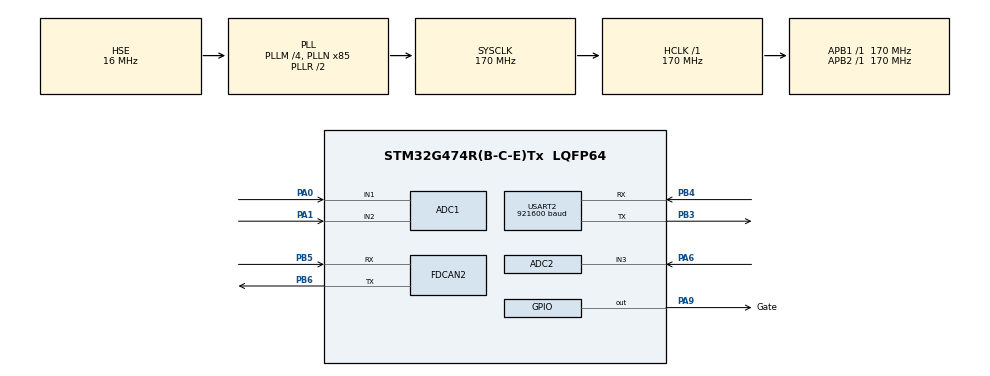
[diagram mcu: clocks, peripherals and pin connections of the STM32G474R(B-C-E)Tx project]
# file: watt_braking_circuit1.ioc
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ADC1.Channel-0\#ChannelRegularConversion=ADC_CHANNEL_1
ADC1.ClockPrescaler=ADC_CLOCK_SYNC_PCLK_DIV4
ADC1.ContinuousConvMode=DISABLE
ADC1.DMAContinuousRequests=ENABLE
ADC1.EnableAnalogWatchDog1=false
ADC1.ExternalTrigConv=ADC_EXTERNALTRIG_T6_TRGO
ADC1.NbrOfConversion=1
ADC1.NbrOfConversionFlag=1
ADC1.OffsetNumber-0\#ChannelRegularConversion=ADC_OFFSET_NONE
ADC1.Overrun=ADC_OVR_DATA_OVERWRITTEN
ADC1.OversamplingMode=ENABLE
ADC1.Rank-0\#ChannelRegularConversion=1
ADC1.Ratio=ADC_OVERSAMPLING_RATIO_4
ADC1.RightBitShift=ADC_RIGHTBITSHIFT_2
ADC1.SamplingTime-0\#ChannelRegularConversion=ADC_SAMPLETIME_2CYCLES_5
ADC1.SingleDiff-0\#ChannelRegularConversion=ADC_DIFFERENTIAL_ENDED
ADC1.master=1
ADC2.Channel-0\#ChannelRegularConversion=ADC_CHANNEL_3
ADC2.ClockPrescaler=ADC_CLOCK_SYNC_PCLK_DIV4
ADC2.DMAContinuousRequests=ENABLE
ADC2.ExternalTrigConv=ADC_EXTERNALTRIG_T6_TRGO
ADC2.NbrOfConversionFlag=1
ADC2.OffsetNumber-0\#ChannelRegularConversion=ADC_OFFSET_NONE
ADC2.Overrun=ADC_OVR_DATA_OVERWRITTEN
ADC2.OversamplingMode=ENABLE
ADC2.Rank-0\#ChannelRegularConversion=1
ADC2.Ratio=ADC_OVERSAMPLING_RATIO_4
ADC2.RightBitShift=ADC_RIGHTBITSHIFT_2
ADC2.SamplingTime-0\#ChannelRegularConversion=ADC_SAMPLETIME_2CYCLES_5
Dma.ADC1.0.Direction=DMA_PERIPH_TO_MEMORY
Dma.ADC1.0.EventEnable=DISABLE
Dma.ADC1.0.Instance=DMA1_Channel1
Dma.ADC1.0.MemDataAlignment=DMA_MDATAALIGN_HALFWORD
Dma.ADC1.0.MemInc=DMA_MINC_ENABLE
Dma.ADC1.0.Mode=DMA_CIRCULAR
Dma.ADC1.0.PeriphDataAlignment=DMA_PDATAALIGN_HALFWORD
Dma.ADC1.0.PeriphInc=DMA_PINC_DISABLE
Dma.ADC1.0.Polarity=HAL_DMAMUX_REQ_GEN_RISING
Dma.ADC1.0.Priority=DMA_PRIORITY_VERY_HIGH
Dma.ADC1.0.RequestNumber=1
Dma.ADC1.0.SignalID=NONE
Dma.ADC1.0.SyncEnable=DISABLE
Dma.ADC1.0.SyncPolarity=HAL_DMAMUX_SYNC_NO_EVENT
Dma.ADC1.0.SyncRequestNumber=1
Dma.ADC1.0.SyncSignalID=NONE
Dma.ADC2.1.Direction=DMA_PERIPH_TO_MEMORY
Dma.ADC2.1.EventEnable=DISABLE
Dma.ADC2.1.Instance=DMA1_Channel2
Dma.ADC2.1.MemDataAlignment=DMA_MDATAALIGN_HALFWORD
Dma.ADC2.1.MemInc=DMA_MINC_ENABLE
Dma.ADC2.1.Mode=DMA_CIRCULAR
Dma.ADC2.1.PeriphDataAlignment=DMA_PDATAALIGN_HALFWORD
Dma.ADC2.1.PeriphInc=DMA_PINC_DISABLE
Dma.ADC2.1.Polarity=HAL_DMAMUX_REQ_GEN_RISING
Dma.ADC2.1.Priority=DMA_PRIORITY_LOW
Dma.ADC2.1.RequestNumber=1
Dma.ADC2.1.SignalID=NONE
Dma.ADC2.1.SyncEnable=DISABLE
Dma.ADC2.1.SyncPolarity=HAL_DMAMUX_SYNC_NO_EVENT
Dma.ADC2.1.SyncRequestNumber=1
Dma.ADC2.1.SyncSignalID=NONE
Dma.Request0=ADC1
Dma.Request1=ADC2
FDCAN2.CalculateBaudRateNominal=1000000
FDCAN2.CalculateTimeBitNominal=1000
FDCAN2.CalculateTimeQuantumNominal=100.0
FDCAN2.NominalPrescaler=17
FDCAN2.NominalTimeSeg1=7
FDCAN2.NominalTimeSeg2=2
Mcu.Family=STM32G4
Mcu.Name=STM32G474R(B-C-E)Tx
Mcu.Package=LQFP64
NVIC.ADC1_2_IRQn=true\:0\:0\:false\:false\:true\:true\:true\:true
NVIC.DMA1_Channel1_IRQn=true\:0\:0\:false\:false\:true\:false\:true\:true
NVIC.DMA1_Channel2_IRQn=true\:0\:0\:false\:false\:true\:false\:true\:true
NVIC.FDCAN2_IT0_IRQn=true\:0\:0\:true\:false\:true\:true\:true\:true
NVIC.FDCAN2_IT1_IRQn=true\:0\:0\:true\:false\:true\:true\:true\:true
NVIC.PriorityGroup=NVIC_PRIORITYGROUP_4
NVIC.TIM6_DAC_IRQn=true\:0\:0\:true\:false\:true\:true\:true\:true
NVIC.USART2_IRQn=true\:0\:0\:false\:false\:true\:true\:true\:true
PA0.Mode=IN1-Differential
PA0.Signal=ADC1_IN1
PA1.Mode=IN1-Differential
PA1.Signal=ADC1_IN2
PA13.Mode=Serial_Wire
PA13.Signal=SYS_JTMS-SWDIO
PA14.Mode=Serial_Wire
PA14.Signal=SYS_JTCK-SWCLK
PA6.Mode=IN3-Single-Ended
PA6.Signal=ADC2_IN3
PA8.Signal=S_TIM1_CH1
PA9.GPIO_Label=Gate
PA9.GPIO_PuPd=GPIO_PULLDOWN
PA9.Signal=GPIO_Output
PB3.Mode=Asynchronous
PB3.Signal=USART2_TX
PB4.Mode=Asynchronous
PB4.Signal=USART2_RX
PB5.Mode=FDCAN_Activate
PB5.Signal=FDCAN2_RX
PB6.Mode=FDCAN_Activate
PB6.Signal=FDCAN2_TX
PF0-OSC_IN.Mode=HSE-External-Oscillator
PF0-OSC_IN.Signal=RCC_OSC_IN
PF1-OSC_OUT.Mode=HSE-External-Oscillator
PF1-OSC_OUT.Signal=RCC_OSC_OUT
ProjectManager.HeapSize=0x200
ProjectManager.StackSize=0x400
ProjectManager.TargetToolchain=STM32CubeIDE
RCC.ADC12Freq_Value=170000000
RCC.ADC345Freq_Value=170000000
RCC.AHBFreq_Value=170000000
RCC.APB1Freq_Value=170000000
RCC.APB1TimFreq_Value=170000000
RCC.APB2Freq_Value=170000000
RCC.APB2TimFreq_Value=170000000
RCC.CortexFreq_Value=170000000
RCC.EXTERNAL_CLOCK_VALUE=12288000
RCC.HCLKFreq_Value=170000000
RCC.HSE_VALUE=16000000
RCC.HSI48_VALUE=48000000
RCC.HSI_VALUE=16000000
RCC.LSE_VALUE=32768
RCC.PLLM=RCC_PLLM_DIV4
RCC.PLLN=85
RCC.PLLSourceVirtual=RCC_PLLSOURCE_HSE
RCC.PREFETCH_ENABLE=0
RCC.SYSCLKFreq_VALUE=170000000
RCC.SYSCLKSource=RCC_SYSCLKSOURCE_PLLCLK
RCC.USBFreq_Value=170000000
RCC.VCOOutputFreq_Value=340000000
SH.S_TIM1_CH1.0=TIM1_CH1
TIM6.PeriodNoDither=84
TIM6.Prescaler=15
TIM6.TIM_MasterOutputTrigger=TIM_TRGO_UPDATE
USART2.BaudRate=921600
USART2.VirtualMode-Asynchronous=VM_ASYNC
VP_SYS_VS_DBSignals.Mode=DisableDeadBatterySignals
VP_TIM6_VS_ClockSourceINT.Mode=Enable_Timer
board=custom

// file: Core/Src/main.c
/* USER CODE BEGIN Header */
/**
  ******************************************************************************
  * @file           : main.c
  * @brief          : Main program body
  ******************************************************************************
  * @attention
  *
  * Copyright (c) 2025 STMicroelectronics.
  * All rights reserved.
  *
  * This software is licensed under terms that can be found in the LICENSE file
  * in the root directory of this software component.
  * If no LICENSE file comes with this software, it is provided AS-IS.
  *
  ******************************************************************************
  */
/* USER CODE END Header */
#include "main.h"

/* USER CODE BEGIN Includes */
#include <string.h>
#include <stdlib.h>
#include <stdio.h>
/* USER CODE END Includes */

/* USER CODE BEGIN PTD */
typedef enum {
    DEBOUNCING = 0,
    MA = 1,
    LPF = 2,
    RAW = 3
} FilterType;
/* USER CODE END PTD */

/* USER CODE BEGIN PD */
#define VI_BUF_LEN 16

#define ADC1_VOLT_CHANNEL ADC_CHANNEL_1
#define ADC2_CURR_CHANNEL ADC_CHANNEL_3

/* USER CODE END PD */

ADC_HandleTypeDef hadc1;
ADC_HandleTypeDef hadc2;
DMA_HandleTypeDef hdma_adc1;
DMA_HandleTypeDef hdma_adc2;

FDCAN_HandleTypeDef hfdcan2;

TIM_HandleTypeDef htim6;

UART_HandleTypeDef huart2;

/* USER CODE BEGIN PV */
uint16_t v_buf[VI_BUF_LEN]; // ADC1(전압) DMA 버퍼
uint16_t i_buf[VI_BUF_LEN]; // ADC2(전류) DMA 버퍼

// 전압 클램핑 ADC 코드
uint16_t high_th  = 2738; // 43.5V
uint16_t low_th = 2712; // 42.5V

volatile uint8_t gpio_gate_on = 0; // GPIO 제어 핀 상태

// 기본 필터 디바운싱
FilterType filter_mode = DEBOUNCING;

// 디바운싱 설정
static uint8_t debounce_count = 4;  // 연속된 샘플 개수 (변경 가능)
static uint8_t debounce_high_cnt = 0;  // high 임계값 초과 카운터
static uint8_t debounce_low_cnt = 0;   // low 임계값 미만 카운터

uint32_t sampling_freq = 500000;
uint32_t cutoff_freq =  1000;
const float pi =  3.14159265359f;

// 필터된 값
static volatile float filtered_v_code = 0.0f;
static volatile float filtered_i_code = 0.0f;

/* CAN-BUS */
FDCAN_TxHeaderTypeDef TxHeader;
FDCAN_RxHeaderTypeDef RxHeader;
uint8_t TxData[8];
uint8_t RxData[8];

/* USER CODE END PV */

void SystemClock_Config(void);
static void MX_GPIO_Init(void);
static void MX_DMA_Init(void);
static void MX_ADC1_Init(void);
static void MX_ADC2_Init(void);
static void MX_FDCAN2_Init(void);
static void MX_USART2_UART_Init(void);
static void MX_TIM6_Init(void);
/* USER CODE BEGIN PFP */
void ADC_StartAll(void);
/* USER CODE END PFP */

/* USER CODE BEGIN 0 */
// ADC 초기 설정
void ADC_StartAll(void) {
    HAL_ADCEx_Calibration_Start(&hadc1, ADC_DIFFERENTIAL_ENDED);
    HAL_ADCEx_Calibration_Start(&hadc2, ADC_SINGLE_ENDED);

    HAL_ADC_Start_DMA(&hadc1, (uint32_t*)v_buf, VI_BUF_LEN);
    HAL_ADC_Start_DMA(&hadc2, (uint32_t*)i_buf, VI_BUF_LEN);
}

//GPIO 히스테리시스 제어용 (최적화: 직접 레지스터 접근)
static inline void GPIO_GateOn(void) {
    GPIOA->BSRR = GPIO_PIN_9;  // 직접 레지스터 쓰기 (HAL 방식보다 빠름)
    gpio_gate_on = 1;
//    high_th  = 2731; // 43.5V
}
static inline void GPIO_GateOff(void) {
    GPIOA->BSRR = (uint32_t)GPIO_PIN_9 << 16U;  // Reset 비트
    gpio_gate_on = 0;
}

// GPIO 제어핀 상태
static inline uint8_t GPIO_InstantBit(void) {
    return (HAL_GPIO_ReadPin(Gate_GPIO_Port, Gate_Pin) == GPIO_PIN_SET) ? 1u : 0u;
}

// adc값->mV
static inline int16_t Code_to_VmV(uint16_t code) {
    float v_bus = ((float) code - 2048.0) * 3.3f * 40.0f / 2047.0f;
    int32_t mV = (int32_t)(v_bus * 1000.0f + 0.5f);
    if (mV < 0) mV = 0;
    return mV;
}

// adc값->mA
static inline int32_t Code_to_ImA(uint16_t code) {
    float i = (float) code * 3.3f / 4095.0f;
    float I = (i - 1.65f) / 0.066f;
    return (int32_t) (I * 1000.0f);
}

/* ==== UART 명령 ==== */
#define RX_BUFSZ 16
static uint8_t  rx_byte; // Interrupt로 받은 1바이트
static char     rx_line[RX_BUFSZ]; // trim된 데이터 문자열
static uint16_t rx_len = 0; // 커서

// 초기화
void UART_Q_Init(void) {
    rx_len = 0;
    HAL_UART_Receive_IT(&huart2, &rx_byte, 1);
}

// 문자 전송
static inline void UART_SendStr(const char* s) {
    HAL_UART_Transmit(&huart2, (uint8_t*)s, (uint16_t)strlen(s), 20);
}

// 전송받은 문자열 핸들링
static void UART_HandleLine(const char* line_in) {
    // '\r' 제거 및 공백 트림
    char line[RX_BUFSZ];
    size_t L = strnlen(line_in, sizeof(line)-1); // 현재 길이
    while (L && (line_in[L-1]=='\r' || line_in[L-1]==' ' || line_in[L-1]=='\t')) --L; // 공백이나 '\r' 이면 트림
    memcpy(line, line_in, L); line[L] = '\0'; // 문자열 끝에 NULL

    if (strcmp(line, "Q") == 0) { // Q 명령: 현재 V, I, GPIO상태 출력

        // 물리량 환산 (전압/전류 모두 필터링된 값 사용)
        int32_t v_mV = Code_to_VmV((uint16_t)(filtered_v_code + 0.5f));
        int32_t i_mA = Code_to_ImA((uint16_t)(filtered_i_code + 0.5f));

        // 히스테리시스 gate 핀 상태
        uint8_t gpio = GPIO_InstantBit();

        // 한 줄 응답
        char msg[84];
        int n = snprintf(msg, sizeof(msg), "D,%ld,%ld,%u\n",
                         (long)v_mV, (long)i_mA, (unsigned)gpio);
        if (n > 0) HAL_UART_Transmit(&huart2, (uint8_t*)msg, (uint16_t)n, 20);
    }
    else {
        UART_SendStr("ERR\n");
        return; //"Q" 아니면 리턴
    }
}
/* USER CODE END 0 */

int main(void)
{

  /* MCU Configuration--------------------------------------------------------*/

  /* Reset of all peripherals, Initializes the Flash interface and the Systick. */
  HAL_Init();

  /* Configure the system clock */
  SystemClock_Config();

  /* Initialize all configured peripherals */
  MX_GPIO_Init();
  MX_DMA_Init();
  MX_ADC1_Init();
  MX_ADC2_Init();
  MX_FDCAN2_Init();
  MX_USART2_UART_Init();
  MX_TIM6_Init();
  /* USER CODE BEGIN 2 */
  ADC_StartAll();
  // BrakePWM_Start();
  // HAL_TIM_Base_Start_IT(&htim7); // PI 제어 사용 안 함
  UART_Q_Init();

  // LPF 상태 변수 초기화 (첫 ADC 값으로)
  HAL_Delay(10); // ADC 안정화 대기 (더 길게)

  // 여러 샘플 평균으로 초기화 (안정적)
  float sum_v = 0.0f, sum_i = 0.0f;
  for(int n = 0; n < 10; n++) {
      sum_v += (float)HAL_ADC_GetValue(&hadc1);
      sum_i += (float)HAL_ADC_GetValue(&hadc2);
      HAL_Delay(1);
  }
  filtered_v_code = sum_v / 10.0f;
  filtered_i_code = sum_i / 10.0f;

  // 로컬 static 변수는 TIM6 콜백 시작 시 자동 초기화됨 (0.0f)
  // 첫 몇 샘플 동안 빠르게 수렴함

  // TIM6 인터럽트 시작 (초기화 완료 후)
  HAL_TIM_Base_Start_IT(&htim6);

  /* FDCAN Start */
  if (HAL_FDCAN_Start(&hfdcan2) != HAL_OK) {
      Error_Handler();
  }

  if (HAL_FDCAN_ActivateNotification(&hfdcan2, FDCAN_IT_RX_FIFO0_NEW_MESSAGE, 0) != HAL_OK) {
      Error_Handler();
  }

  /* USER CODE END 2 */

  /* Infinite loop */
  while (1)
  {

  }
}

void SystemClock_Config(void)
{
  RCC_OscInitTypeDef RCC_OscInitStruct = {0};
  RCC_ClkInitTypeDef RCC_ClkInitStruct = {0};

  /** Configure the main internal regulator output voltage
  */
  HAL_PWREx_ControlVoltageScaling(PWR_REGULATOR_VOLTAGE_SCALE1_BOOST);

  /** Initializes the RCC Oscillators according to the specified parameters
  * in the RCC_OscInitTypeDef structure.
  */
  RCC_OscInitStruct.OscillatorType = RCC_OSCILLATORTYPE_HSE;
  RCC_OscInitStruct.HSEState = RCC_HSE_ON;
  RCC_OscInitStruct.PLL.PLLState = RCC_PLL_ON;
  RCC_OscInitStruct.PLL.PLLSource = RCC_PLLSOURCE_HSE;
  RCC_OscInitStruct.PLL.PLLM = RCC_PLLM_DIV4;
  RCC_OscInitStruct.PLL.PLLN = 85;
  RCC_OscInitStruct.PLL.PLLP = RCC_PLLP_DIV2;
  RCC_OscInitStruct.PLL.PLLQ = RCC_PLLQ_DIV2;
  RCC_OscInitStruct.PLL.PLLR = RCC_PLLR_DIV2;
  if (HAL_RCC_OscConfig(&RCC_OscInitStruct) != HAL_OK)
  {
    Error_Handler();
  }

  /** Initializes the CPU, AHB and APB buses clocks
  */
  RCC_ClkInitStruct.ClockType = RCC_CLOCKTYPE_HCLK|RCC_CLOCKTYPE_SYSCLK
                              |RCC_CLOCKTYPE_PCLK1|RCC_CLOCKTYPE_PCLK2;
  RCC_ClkInitStruct.SYSCLKSource = RCC_SYSCLKSOURCE_PLLCLK;
  RCC_ClkInitStruct.AHBCLKDivider = RCC_SYSCLK_DIV1;
  RCC_ClkInitStruct.APB1CLKDivider = RCC_HCLK_DIV1;
  RCC_ClkInitStruct.APB2CLKDivider = RCC_HCLK_DIV1;

  if (HAL_RCC_ClockConfig(&RCC_ClkInitStruct, FLASH_LATENCY_4) != HAL_OK)
  {
    Error_Handler();
  }
}

static void MX_ADC1_Init(void)
{

  ADC_MultiModeTypeDef multimode = {0};
  ADC_ChannelConfTypeDef sConfig = {0};

  /** Common config
  */
  hadc1.Instance = ADC1;
  hadc1.Init.ClockPrescaler = ADC_CLOCK_SYNC_PCLK_DIV4;
  hadc1.Init.Resolution = ADC_RESOLUTION_12B;
  hadc1.Init.DataAlign = ADC_DATAALIGN_RIGHT;
  hadc1.Init.GainCompensation = 0;
  hadc1.Init.ScanConvMode = ADC_SCAN_DISABLE;
  hadc1.Init.EOCSelection = ADC_EOC_SINGLE_CONV;
  hadc1.Init.LowPowerAutoWait = DISABLE;
  hadc1.Init.ContinuousConvMode = DISABLE;
  hadc1.Init.NbrOfConversion = 1;
  hadc1.Init.DiscontinuousConvMode = DISABLE;
  hadc1.Init.ExternalTrigConv = ADC_EXTERNALTRIG_T6_TRGO;
  hadc1.Init.ExternalTrigConvEdge = ADC_EXTERNALTRIGCONVEDGE_RISING;
  hadc1.Init.DMAContinuousRequests = ENABLE;
  hadc1.Init.Overrun = ADC_OVR_DATA_OVERWRITTEN;
  hadc1.Init.OversamplingMode = ENABLE;
  hadc1.Init.Oversampling.Ratio = ADC_OVERSAMPLING_RATIO_4;
  hadc1.Init.Oversampling.RightBitShift = ADC_RIGHTBITSHIFT_2;
  hadc1.Init.Oversampling.TriggeredMode = ADC_TRIGGEREDMODE_SINGLE_TRIGGER;
  hadc1.Init.Oversampling.OversamplingStopReset = ADC_REGOVERSAMPLING_CONTINUED_MODE;
  if (HAL_ADC_Init(&hadc1) != HAL_OK)
  {
    Error_Handler();
  }

  /** Configure the ADC multi-mode
  */
  multimode.Mode = ADC_MODE_INDEPENDENT;
  if (HAL_ADCEx_MultiModeConfigChannel(&hadc1, &multimode) != HAL_OK)
  {
    Error_Handler();
  }

  /** Configure Regular Channel
  */
  sConfig.Channel = ADC_CHANNEL_1;
  sConfig.Rank = ADC_REGULAR_RANK_1;
  sConfig.SamplingTime = ADC_SAMPLETIME_2CYCLES_5;
  sConfig.SingleDiff = ADC_DIFFERENTIAL_ENDED;
  sConfig.OffsetNumber = ADC_OFFSET_NONE;
  sConfig.Offset = 0;
  if (HAL_ADC_ConfigChannel(&hadc1, &sConfig) != HAL_OK)
  {
    Error_Handler();
  }

}

static void MX_ADC2_Init(void)
{

  ADC_ChannelConfTypeDef sConfig = {0};

  /** Common config
  */
  hadc2.Instance = ADC2;
  hadc2.Init.ClockPrescaler = ADC_CLOCK_SYNC_PCLK_DIV4;
  hadc2.Init.Resolution = ADC_RESOLUTION_12B;
  hadc2.Init.DataAlign = ADC_DATAALIGN_RIGHT;
  hadc2.Init.GainCompensation = 0;
  hadc2.Init.ScanConvMode = ADC_SCAN_DISABLE;
  hadc2.Init.EOCSelection = ADC_EOC_SINGLE_CONV;
  hadc2.Init.LowPowerAutoWait = DISABLE;
  hadc2.Init.ContinuousConvMode = DISABLE;
  hadc2.Init.NbrOfConversion = 1;
  hadc2.Init.DiscontinuousConvMode = DISABLE;
  hadc2.Init.ExternalTrigConv = ADC_EXTERNALTRIG_T6_TRGO;
  hadc2.Init.ExternalTrigConvEdge = ADC_EXTERNALTRIGCONVEDGE_RISING;
  hadc2.Init.DMAContinuousRequests = ENABLE;
  hadc2.Init.Overrun = ADC_OVR_DATA_OVERWRITTEN;
  hadc2.Init.OversamplingMode = ENABLE;
  hadc2.Init.Oversampling.Ratio = ADC_OVERSAMPLING_RATIO_4;
  hadc2.Init.Oversampling.RightBitShift = ADC_RIGHTBITSHIFT_2;
  hadc2.Init.Oversampling.TriggeredMode = ADC_TRIGGEREDMODE_SINGLE_TRIGGER;
  hadc2.Init.Oversampling.OversamplingStopReset = ADC_REGOVERSAMPLING_CONTINUED_MODE;
  if (HAL_ADC_Init(&hadc2) != HAL_OK)
  {
    Error_Handler();
  }

  /** Configure Regular Channel
  */
  sConfig.Channel = ADC_CHANNEL_3;
  sConfig.Rank = ADC_REGULAR_RANK_1;
  sConfig.SamplingTime = ADC_SAMPLETIME_2CYCLES_5;
  sConfig.SingleDiff = ADC_SINGLE_ENDED;
  sConfig.OffsetNumber = ADC_OFFSET_NONE;
  sConfig.Offset = 0;
  if (HAL_ADC_ConfigChannel(&hadc2, &sConfig) != HAL_OK)
  {
    Error_Handler();
  }

}

static void MX_FDCAN2_Init(void)
{

  hfdcan2.Instance = FDCAN2;
  hfdcan2.Init.ClockDivider = FDCAN_CLOCK_DIV1;
  hfdcan2.Init.FrameFormat = FDCAN_FRAME_CLASSIC;
  hfdcan2.Init.Mode = FDCAN_MODE_NORMAL;
  hfdcan2.Init.AutoRetransmission = DISABLE;
  hfdcan2.Init.TransmitPause = DISABLE;
  hfdcan2.Init.ProtocolException = DISABLE;
  hfdcan2.Init.NominalPrescaler = 17;
  hfdcan2.Init.NominalSyncJumpWidth = 1;
  hfdcan2.Init.NominalTimeSeg1 = 7;
  hfdcan2.Init.NominalTimeSeg2 = 2;
  hfdcan2.Init.DataPrescaler = 1;
  hfdcan2.Init.DataSyncJumpWidth = 1;
  hfdcan2.Init.DataTimeSeg1 = 1;
  hfdcan2.Init.DataTimeSeg2 = 1;
  hfdcan2.Init.StdFiltersNbr = 0;
  hfdcan2.Init.ExtFiltersNbr = 0;
  hfdcan2.Init.TxFifoQueueMode = FDCAN_TX_FIFO_OPERATION;
  if (HAL_FDCAN_Init(&hfdcan2) != HAL_OK)
  {
    Error_Handler();
  }
  /* USER CODE BEGIN FDCAN2_Init 2 */

  FDCAN_FilterTypeDef sFilterConfig;

  sFilterConfig.IdType = FDCAN_STANDARD_ID;
  sFilterConfig.FilterIndex = 0;
  sFilterConfig.FilterType = FDCAN_FILTER_DUAL;
  sFilterConfig.FilterConfig = FDCAN_FILTER_TO_RXFIFO0;
  sFilterConfig.FilterID1 = 0x101;
  sFilterConfig.FilterID2 = 0x7FF;

  if (HAL_FDCAN_ConfigFilter(&hfdcan2, &sFilterConfig) != HAL_OK)
  {
      Error_Handler();
  }
  /* USER CODE END FDCAN2_Init 2 */

}

static void MX_TIM6_Init(void)
{

  TIM_MasterConfigTypeDef sMasterConfig = {0};

  htim6.Instance = TIM6;
  htim6.Init.Prescaler = 15;
  htim6.Init.CounterMode = TIM_COUNTERMODE_UP;
  htim6.Init.Period = 84;
  htim6.Init.AutoReloadPreload = TIM_AUTORELOAD_PRELOAD_DISABLE;
  if (HAL_TIM_Base_Init(&htim6) != HAL_OK)
  {
    Error_Handler();
  }
  sMasterConfig.MasterOutputTrigger = TIM_TRGO_UPDATE;
  sMasterConfig.MasterSlaveMode = TIM_MASTERSLAVEMODE_DISABLE;
  if (HAL_TIMEx_MasterConfigSynchronization(&htim6, &sMasterConfig) != HAL_OK)
  {
    Error_Handler();
  }

}

static void MX_USART2_UART_Init(void)
{

  huart2.Instance = USART2;
  huart2.Init.BaudRate = 921600;
  huart2.Init.WordLength = UART_WORDLENGTH_8B;
  huart2.Init.StopBits = UART_STOPBITS_1;
  huart2.Init.Parity = UART_PARITY_NONE;
  huart2.Init.Mode = UART_MODE_TX_RX;
  huart2.Init.HwFlowCtl = UART_HWCONTROL_NONE;
  huart2.Init.OverSampling = UART_OVERSAMPLING_16;
  huart2.Init.OneBitSampling = UART_ONE_BIT_SAMPLE_DISABLE;
  huart2.Init.ClockPrescaler = UART_PRESCALER_DIV1;
  huart2.AdvancedInit.AdvFeatureInit = UART_ADVFEATURE_NO_INIT;
  if (HAL_UART_Init(&huart2) != HAL_OK)
  {
    Error_Handler();
  }
  if (HAL_UARTEx_SetTxFifoThreshold(&huart2, UART_TXFIFO_THRESHOLD_1_8) != HAL_OK)
  {
    Error_Handler();
  }
  if (HAL_UARTEx_SetRxFifoThreshold(&huart2, UART_RXFIFO_THRESHOLD_1_8) != HAL_OK)
  {
    Error_Handler();
  }
  if (HAL_UARTEx_DisableFifoMode(&huart2) != HAL_OK)
  {
    Error_Handler();
  }

}

static void MX_DMA_Init(void)
{

  /* DMA controller clock enable */
  __HAL_RCC_DMAMUX1_CLK_ENABLE();
  __HAL_RCC_DMA1_CLK_ENABLE();

  /* DMA interrupt init */
  /* DMA1_Channel1_IRQn interrupt configuration */
  HAL_NVIC_SetPriority(DMA1_Channel1_IRQn, 0, 0);
  HAL_NVIC_EnableIRQ(DMA1_Channel1_IRQn);
  /* DMA1_Channel2_IRQn interrupt configuration */
  HAL_NVIC_SetPriority(DMA1_Channel2_IRQn, 0, 0);
  HAL_NVIC_EnableIRQ(DMA1_Channel2_IRQn);

}

static void MX_GPIO_Init(void)
{
  GPIO_InitTypeDef GPIO_InitStruct = {0};

  /* GPIO Ports Clock Enable */
  __HAL_RCC_GPIOF_CLK_ENABLE();
  __HAL_RCC_GPIOA_CLK_ENABLE();
  __HAL_RCC_GPIOB_CLK_ENABLE();

  /*Configure GPIO pin Output Level */
  HAL_GPIO_WritePin(Gate_GPIO_Port, Gate_Pin, GPIO_PIN_RESET);

  /*Configure GPIO pin : PA8 */
  GPIO_InitStruct.Pin = GPIO_PIN_8;
  GPIO_InitStruct.Mode = GPIO_MODE_AF_PP;
  GPIO_InitStruct.Pull = GPIO_NOPULL;
  GPIO_InitStruct.Speed = GPIO_SPEED_FREQ_LOW;
  GPIO_InitStruct.Alternate = GPIO_AF6_TIM1;
  HAL_GPIO_Init(GPIOA, &GPIO_InitStruct);

  /*Configure GPIO pin : Gate_Pin */
  GPIO_InitStruct.Pin = Gate_Pin;
  GPIO_InitStruct.Mode = GPIO_MODE_OUTPUT_PP;
  GPIO_InitStruct.Pull = GPIO_PULLDOWN;
  GPIO_InitStruct.Speed = GPIO_SPEED_FREQ_LOW;
  HAL_GPIO_Init(Gate_GPIO_Port, &GPIO_InitStruct);

}

/* USER CODE BEGIN 4 */
/**
  * @brief  FDCAN Rx FIFO 0 수신 콜백
  * @note   ID 0x101 메시지 수신 시 호출됨
  */
void HAL_FDCAN_RxFifo0Callback(FDCAN_HandleTypeDef *hfdcan, uint32_t RxFifo0ITs) {
    if((RxFifo0ITs & FDCAN_IT_RX_FIFO0_NEW_MESSAGE) != RESET) {
        // FIFO 0에서 메시지 수신
        if (HAL_FDCAN_GetRxMessage(hfdcan, FDCAN_RX_FIFO0, &RxHeader, RxData) != HAL_OK) {
            Error_Handler();
        }

        // 메시지 확인 (ID: 0x101)
        if (RxHeader.Identifier == 0x101) {
            // 요청 메시지
            if (RxHeader.DataLength == FDCAN_DLC_BYTES_1 && RxData[0] == 0x01) {
                // 전압, 전류
                uint16_t voltage_mv = (uint16_t)Code_to_VmV((uint16_t)(filtered_v_code + 0.5f));
                uint16_t current_ma = (uint16_t)Code_to_ImA((uint16_t)(filtered_i_code + 0.5f));

                // 핀 상태
                uint8_t pin_status = GPIO_InstantBit();

                // CAN Tx 메시지 설정
                TxHeader.Identifier = 0x100;
                TxHeader.IdType = FDCAN_STANDARD_ID;
                TxHeader.TxFrameType = FDCAN_DATA_FRAME;
                TxHeader.DataLength = FDCAN_DLC_BYTES_5;
                TxHeader.ErrorStateIndicator = FDCAN_ESI_ACTIVE;
                TxHeader.BitRateSwitch = FDCAN_BRS_OFF;
                TxHeader.FDFormat = FDCAN_CLASSIC_CAN;
                TxHeader.TxEventFifoControl = FDCAN_NO_TX_EVENTS;
                TxHeader.MessageMarker = 0;

                // 데이터 패킹 (Big-Endian)
                TxData[0] = (voltage_mv >> 8) & 0xFF;
                TxData[1] = voltage_mv & 0xFF;
                TxData[2] = (current_ma >> 8) & 0xFF;
                TxData[3] = current_ma & 0xFF;
                TxData[4] = pin_status;

                // 메시지 전송
                if (HAL_FDCAN_AddMessageToTxFifoQ(&hfdcan2, &TxHeader, TxData) != HAL_OK) {
                    // 전송 실패
                    Error_Handler();
                }
            }

            // 필터 변경 메시지
            else if (RxHeader.DataLength == FDCAN_DLC_BYTES_2 && RxData[0] == 0x02) {
                if (RxData[1] >= 0 && RxData[1] <= 3) {
                    // 입력받은 필터값으로 변경
                    filter_mode = (FilterType) RxData[1];

                    // CAN Tx 메시지 설정
                    TxHeader.Identifier = 0x100;
                    TxHeader.IdType = FDCAN_STANDARD_ID;
                    TxHeader.TxFrameType = FDCAN_DATA_FRAME;
                    TxHeader.DataLength = FDCAN_DLC_BYTES_2;
                    TxHeader.ErrorStateIndicator = FDCAN_ESI_ACTIVE;
                    TxHeader.BitRateSwitch = FDCAN_BRS_OFF;
                    TxHeader.FDFormat = FDCAN_CLASSIC_CAN;
                    TxHeader.TxEventFifoControl = FDCAN_NO_TX_EVENTS;
                    TxHeader.MessageMarker = 0;

                    // 데이터 패킹 (Big-Endian)
                    TxData[0] = 0x02;
                    TxData[1] = RxData[1];

                    // 메시지 전송
                    if (HAL_FDCAN_AddMessageToTxFifoQ(&hfdcan2, &TxHeader, TxData) != HAL_OK) {
                        // 전송 실패
                        Error_Handler();
                    }
                }

                // 잘못된 값 들어올 경우 에러
                else {
                    // CAN Tx 메시지 설정
                    TxHeader.Identifier = 0x100;
                    TxHeader.IdType = FDCAN_STANDARD_ID;
                    TxHeader.TxFrameType = FDCAN_DATA_FRAME;
                    TxHeader.DataLength = FDCAN_DLC_BYTES_2;
                    TxHeader.ErrorStateIndicator = FDCAN_ESI_ACTIVE;
                    TxHeader.BitRateSwitch = FDCAN_BRS_OFF;
                    TxHeader.FDFormat = FDCAN_CLASSIC_CAN;
                    TxHeader.TxEventFifoControl = FDCAN_NO_TX_EVENTS;
                    TxHeader.MessageMarker = 0;

                    // 데이터 패킹 (Big-Endian)
                    TxData[0] = 0x02;
                    TxData[1] = 0x00;

                    // 메시지 전송
                    if (HAL_FDCAN_AddMessageToTxFifoQ(&hfdcan2, &TxHeader, TxData) != HAL_OK) {
                        // 전송 실패
                        Error_Handler();
                    }
                }
            }

            // LPF 차단주파수 설정
            else if (RxHeader.DataLength == FDCAN_DLC_BYTES_5 && RxData[0] == 0x03) {
                cutoff_freq =
                            ((uint32_t)RxData[1] << 24) |
                            ((uint32_t)RxData[2] << 16) |
                            ((uint32_t)RxData[3] << 8)  |
                            (uint32_t)RxData[4];

                // CAN Tx 메시지 설정
                TxHeader.Identifier = 0x100;
                TxHeader.IdType = FDCAN_STANDARD_ID;
                TxHeader.TxFrameType = FDCAN_DATA_FRAME;
                TxHeader.DataLength = FDCAN_DLC_BYTES_5;
                TxHeader.ErrorStateIndicator = FDCAN_ESI_ACTIVE;
                TxHeader.BitRateSwitch = FDCAN_BRS_OFF;
                TxHeader.FDFormat = FDCAN_CLASSIC_CAN;
                TxHeader.TxEventFifoControl = FDCAN_NO_TX_EVENTS;
                TxHeader.MessageMarker = 0;

                // 데이터 패킹 (Big-Endian)
                for (int i = 0; i <= 4; i++) {
                    TxData[i] = RxData[i];
                }

                // 메시지 전송
                if (HAL_FDCAN_AddMessageToTxFifoQ(&hfdcan2, &TxHeader, TxData) != HAL_OK) {
                    // 전송 실패
                    Error_Handler();
                }
            }

            // high_th 설정
            else if (RxHeader.DataLength == FDCAN_DLC_BYTES_3 && RxData[0] == 0x04) {
                high_th =
                            ((uint32_t)RxData[1] << 8) |
                            (uint32_t)RxData[2];

                // CAN Tx 메시지 설정
                TxHeader.Identifier = 0x100;
                TxHeader.IdType = FDCAN_STANDARD_ID;
                TxHeader.TxFrameType = FDCAN_DATA_FRAME;
                TxHeader.DataLength = FDCAN_DLC_BYTES_3;
                TxHeader.ErrorStateIndicator = FDCAN_ESI_ACTIVE;
                TxHeader.BitRateSwitch = FDCAN_BRS_OFF;
                TxHeader.FDFormat = FDCAN_CLASSIC_CAN;
                TxHeader.TxEventFifoControl = FDCAN_NO_TX_EVENTS;
                TxHeader.MessageMarker = 0;

                // 데이터 패킹 (Big-Endian)
                for (int i = 0; i <= 2; i++) {
                    TxData[i] = RxData[i];
                }

                // 메시지 전송
                if (HAL_FDCAN_AddMessageToTxFifoQ(&hfdcan2, &TxHeader, TxData) != HAL_OK) {
                    // 전송 실패
                    Error_Handler();
                }
            }

            // low_th 설정
            else if (RxHeader.DataLength == FDCAN_DLC_BYTES_3 && RxData[0] == 0x05) {
                low_th =
                            ((uint32_t)RxData[1] << 8) |
                            (uint32_t)RxData[2];

                // CAN Tx 메시지 설정
                TxHeader.Identifier = 0x100;
                TxHeader.IdType = FDCAN_STANDARD_ID;
                TxHeader.TxFrameType = FDCAN_DATA_FRAME;
                TxHeader.DataLength = FDCAN_DLC_BYTES_3;
                TxHeader.ErrorStateIndicator = FDCAN_ESI_ACTIVE;
                TxHeader.BitRateSwitch = FDCAN_BRS_OFF;
                TxHeader.FDFormat = FDCAN_CLASSIC_CAN;
                TxHeader.TxEventFifoControl = FDCAN_NO_TX_EVENTS;
                TxHeader.MessageMarker = 0;

                // 데이터 패킹 (Big-Endian)
                for (int i = 0; i <= 2; i++) {
                    TxData[i] = RxData[i];
                }

                // 메시지 전송
                if (HAL_FDCAN_AddMessageToTxFifoQ(&hfdcan2, &TxHeader, TxData) != HAL_OK) {
                    // 전송 실패
                    Error_Handler();
                }
            }
        }
    }
}

/**
 * @brief ADC Half Transfer Complete Callback (DMA 버퍼 앞 절반 채워짐)
 * @note MA 모드일 때 앞 절반 평균 계산
 */
void HAL_ADC_ConvHalfCpltCallback(ADC_HandleTypeDef* hadc) {
    if (filter_mode == MA) {
        if (hadc->Instance == ADC1) {
            // v_buf 앞 절반의 평균
            float v_add = 0.0f;
            for (int i = 0; i <= (VI_BUF_LEN/2-1); i++) {
                v_add += v_buf[i];
            }
            filtered_v_code = v_add / (((float) VI_BUF_LEN) / 2.0f);
        }
        else if (hadc->Instance == ADC2) {
            // i_buf 앞 절반의 평균
            float i_add = 0.0f;
            for (int i = 0; i <= (VI_BUF_LEN/2-1); i++) {
                i_add += i_buf[i];
            }
            filtered_i_code = i_add / (((float) VI_BUF_LEN) / 2.0f);
        }
    }
}
/**
 * @brief ADC Transfer Complete Callback (DMA 버퍼 전체 채워짐)
 * @note MA 모드일 때 뒤 절반 평균 계산
 */
void HAL_ADC_ConvCpltCallback(ADC_HandleTypeDef* hadc) {
    if (filter_mode == MA) {
        if (hadc->Instance == ADC1) {
            // v_buf 뒤 절반의 평균
            float v_add = 0.0f;
            for (int i = VI_BUF_LEN/2; i <= (VI_BUF_LEN-1); i++) {
                v_add += v_buf[i];
            }
            filtered_v_code = v_add / (((float) VI_BUF_LEN) / 2.0f);
        }
        else if (hadc->Instance == ADC2) {
            // i_buf 뒤 절반의 평균
            float i_add = 0.0f;
            for (int i = VI_BUF_LEN/2; i <= (VI_BUF_LEN-1); i++) {
                i_add += i_buf[i];
            }
            filtered_i_code = i_add / (((float) VI_BUF_LEN) / 2.0f);
        }
    }
}

/**
 * @brief TIM_period 콜백함수
 * @note TIM6: LPF 및 히스테리시스 제어
 */
void HAL_TIM_PeriodElapsedCallback(TIM_HandleTypeDef *htim) {
    if (htim->Instance == TIM6) {
        // ADC 값 읽기
        uint16_t v = (uint16_t) HAL_ADC_GetValue(&hadc1);
        uint16_t i = (uint16_t) HAL_ADC_GetValue(&hadc2);

        // LPF 적용 (float, 전역 변수 직접 사용)
        if (filter_mode == LPF) {
            float lpf_alpha = ((2.0f * pi * (float) cutoff_freq) / (((float) sampling_freq) + 2.0f * pi * ((float) cutoff_freq)));
            filtered_v_code += lpf_alpha * ((float)v - filtered_v_code);
            filtered_i_code += lpf_alpha * ((float)i - filtered_i_code);
        }
        // raw나 debouncing이면 filtered 값에 그대로 전달
        else if (filter_mode == RAW || filter_mode == DEBOUNCING) {
            filtered_v_code = v;
            filtered_i_code = i;
        }

        // 디바운싱: 연속된 N개 샘플이 임계값을 넘어야 동작
        if (filter_mode == DEBOUNCING) {
            if (!gpio_gate_on) {
                if (v > high_th) {
                    debounce_high_cnt++;
                    debounce_low_cnt = 0;  // 반대쪽 카운터 리셋

                    if (debounce_high_cnt >= debounce_count) {
                        GPIO_GateOn();
                        debounce_high_cnt = 0;  // 카운터 리셋
                    }
                } else {
                    debounce_high_cnt = 0;  // 조건 불만족 시 리셋
                }
            }
            else {  // gpio_gate_on == 1
                if (v < low_th) {
                    debounce_low_cnt++;
                    debounce_high_cnt = 0;  // 반대쪽 카운터 리셋

                    if (debounce_low_cnt >= debounce_count) {
                        GPIO_GateOff();
                        debounce_low_cnt = 0;  // 카운터 리셋
                    }
                } else {
                    debounce_low_cnt = 0;  // 조건 불만족 시 리셋
                }
            }
        }

        // 이외의 경우, 필터값이 임계값 넘기면 동작
        if (!gpio_gate_on && filtered_v_code > high_th) {
            GPIO_GateOn();
        }
        else if (gpio_gate_on && filtered_v_code < low_th) {
            GPIO_GateOff();
        }
    }
}

/**
 * @brief UART 수신 콜백함수
 * @note USART2: UART 모니터링부
 */
void HAL_UART_RxCpltCallback(UART_HandleTypeDef *huart) {
    if (huart->Instance == USART2) {
        uint8_t b = rx_byte; // 받은 1바이트 데이터
        if (b == '\n' || rx_len >= (RX_BUFSZ - 1)) { // EOL 또는 배열 끝
            rx_line[rx_len] = '\0'; // '\0' 문자열 끝 처리
            if (rx_len) UART_HandleLine(rx_line); // 해당 버퍼의 문자열 처리
            rx_len = 0; // 커서 초기화
        } else {
            if (b != '\r') rx_line[rx_len++] = (char)b; // '\r'이 아닌 글자면 수신버퍼에 저장 후 커서 1 증가
        }
        HAL_UART_Receive_IT(&huart2, &rx_byte, 1); // 계속 수신
    }
}
/* USER CODE END 4 */

void Error_Handler(void)
{
  __disable_irq();
  while (1)
  {
  }
}
